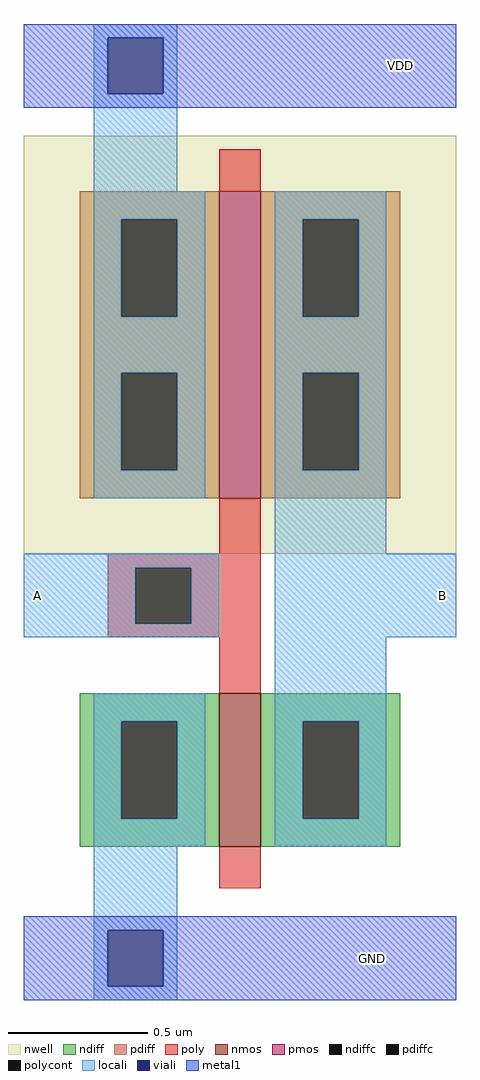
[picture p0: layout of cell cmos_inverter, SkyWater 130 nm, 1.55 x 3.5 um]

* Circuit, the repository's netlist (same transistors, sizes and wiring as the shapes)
* NGSPICE file created from cmos_inverter.ext - technology: sky130A

.subckt cmos_inverter A B VDD GND
X0 B A GND VSUBS sky130_fd_pr__nfet_01v8 ad=0.275 pd=2.1 as=0.275 ps=2.1 w=0.55 l=0.15
**devattr s=11000,420 d=11000,420
X1 B A VDD w_n140_190# sky130_fd_pr__pfet_01v8 ad=0.55 pd=3.2 as=0.55 ps=3.2 w=1.1 l=0.15
**devattr s=22000,640 d=22000,640
.ends

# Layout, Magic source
magic
tech sky130A
<< nwell >>
rect -70 95 85 245
<< nmos >>
rect 0 -10 15 45
<< pmos >>
rect 0 115 15 225
<< ndiff >>
rect -50 35 0 45
rect -50 0 -35 35
rect -15 0 0 35
rect -50 -10 0 0
rect 15 35 65 45
rect 15 0 30 35
rect 50 0 65 35
rect 15 -10 65 0
<< pdiff >>
rect -50 215 0 225
rect -50 180 -35 215
rect -15 180 0 215
rect -50 160 0 180
rect -50 125 -35 160
rect -15 125 0 160
rect -50 115 0 125
rect 15 215 65 225
rect 15 180 30 215
rect 50 180 65 215
rect 15 160 65 180
rect 15 125 30 160
rect 50 125 65 160
rect 15 115 65 125
<< ndiffc >>
rect -35 0 -15 35
rect 30 0 50 35
<< pdiffc >>
rect -35 180 -15 215
rect -35 125 -15 160
rect 30 180 50 215
rect 30 125 50 160
<< poly >>
rect 0 225 15 240
rect 0 95 15 115
rect -40 90 15 95
rect -40 70 -30 90
rect -10 70 15 90
rect -40 65 15 70
rect 0 45 15 65
rect 0 -25 15 -10
<< polycont >>
rect -30 70 -10 90
<< locali >>
rect -45 280 -15 285
rect -45 260 -40 280
rect -20 260 -15 280
rect -45 225 -15 260
rect -45 215 -5 225
rect -45 180 -35 215
rect -15 180 -5 215
rect -45 160 -5 180
rect -45 125 -35 160
rect -15 125 -5 160
rect -45 115 -5 125
rect 20 215 60 225
rect 20 180 30 215
rect 50 180 60 215
rect 20 160 60 180
rect 20 125 30 160
rect 50 125 60 160
rect 20 95 60 125
rect -70 90 0 95
rect -70 70 -30 90
rect -10 70 0 90
rect -70 65 0 70
rect 20 65 85 95
rect -45 35 -5 45
rect -45 0 -35 35
rect -15 0 -5 35
rect -45 -10 -5 0
rect 20 35 60 65
rect 20 0 30 35
rect 50 0 60 35
rect 20 -10 60 0
rect -45 -40 -15 -10
rect -45 -60 -40 -40
rect -20 -60 -15 -40
rect -45 -65 -15 -60
<< viali >>
rect -40 260 -20 280
rect -40 -60 -20 -40
<< metal1 >>
rect -70 280 85 285
rect -70 260 -40 280
rect -20 260 85 280
rect -70 255 85 260
rect -70 -40 85 -35
rect -70 -60 -40 -40
rect -20 -60 85 -40
rect -70 -65 85 -60
<< labels >>
flabel locali 75 75 85 85 0 FreeSans 40 0 34 32 B
port 2 nsew
flabel locali -70 75 -60 85 0 FreeSans 40 0 -28 32 A
port 1 nsew
flabel metal1 60 265 70 275 0 FreeSans 40 0 26 108 VDD
port 3 nsew
flabel metal1 50 -55 60 -45 0 FreeSans 40 0 22 -20 GND
port 5 nsew
<< end >>
